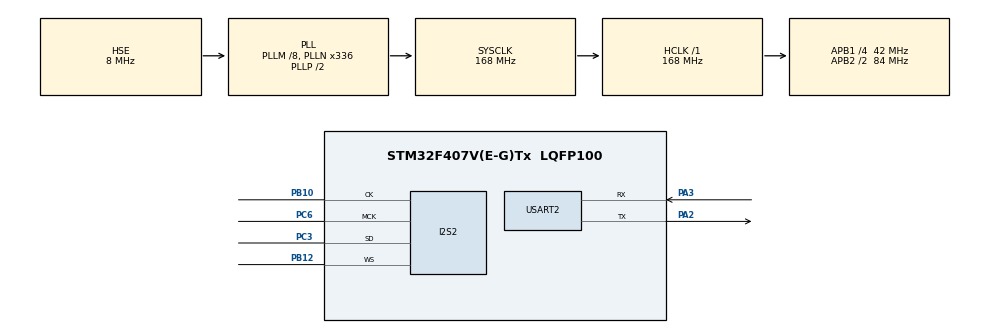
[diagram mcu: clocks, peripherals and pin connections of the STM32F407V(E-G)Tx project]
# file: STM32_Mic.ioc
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Dma.Request0=SPI2_RX
Dma.SPI2_RX.0.Direction=DMA_PERIPH_TO_MEMORY
Dma.SPI2_RX.0.FIFOMode=DMA_FIFOMODE_DISABLE
Dma.SPI2_RX.0.Instance=DMA1_Stream3
Dma.SPI2_RX.0.MemDataAlignment=DMA_MDATAALIGN_HALFWORD
Dma.SPI2_RX.0.MemInc=DMA_MINC_ENABLE
Dma.SPI2_RX.0.Mode=DMA_CIRCULAR
Dma.SPI2_RX.0.PeriphDataAlignment=DMA_PDATAALIGN_HALFWORD
Dma.SPI2_RX.0.PeriphInc=DMA_PINC_DISABLE
Dma.SPI2_RX.0.Priority=DMA_PRIORITY_LOW
I2S2.AudioFreq=I2S_AUDIOFREQ_48K
I2S2.DataFormat=I2S_DATAFORMAT_16B_EXTENDED
I2S2.ErrorAudioFreq=-2.34 %
I2S2.FullDuplexMode=I2S_FULLDUPLEXMODE_DISABLE
I2S2.Instance=SPI$Index
I2S2.Mode=I2S_MODE_MASTER_RX
I2S2.RealAudioFreq=46.875 KHz
I2S2.Standard=I2S_STANDARD_MSB
I2S2.VirtualMode=I2S_MODE_MASTER
Mcu.Family=STM32F4
Mcu.Name=STM32F407V(E-G)Tx
Mcu.Package=LQFP100
NVIC.DMA1_Stream3_IRQn=true\:0\:0\:false\:false\:true\:false\:true\:true
NVIC.PriorityGroup=NVIC_PRIORITYGROUP_0
NVIC.SPI2_IRQn=true\:0\:0\:false\:false\:true\:true\:true\:true
NVIC.USART2_IRQn=true\:0\:0\:false\:false\:true\:true\:true\:true
PA2.Mode=Asynchronous
PA2.Signal=USART2_TX
PA3.Mode=Asynchronous
PA3.Signal=USART2_RX
PB10.GPIO_Speed=GPIO_SPEED_FREQ_VERY_HIGH
PB10.Mode=Half_Duplex_Master
PB10.Signal=I2S2_CK
PB12.GPIO_Speed=GPIO_SPEED_FREQ_VERY_HIGH
PB12.Mode=Half_Duplex_Master
PB12.Signal=I2S2_WS
PC14-OSC32_IN.Mode=LSE-External-Clock-Source
PC14-OSC32_IN.Signal=RCC_OSC32_IN
PC15-OSC32_OUT.Mode=LSE-External-Clock-Source
PC15-OSC32_OUT.Signal=RCC_OSC32_OUT
PC3.GPIO_Speed=GPIO_SPEED_FREQ_VERY_HIGH
PC3.Mode=Half_Duplex_Master
PC3.Signal=I2S2_SD
PC6.Mode=Master_Clock_Activated
PC6.Signal=I2S2_MCK
PDM2PCM.CHANNEL1_in_ptr_channels=1
PDM2PCM.CHANNEL1_out_ptr_channels=1
PH0-OSC_IN.Mode=HSE-External-Clock-Source
PH0-OSC_IN.Signal=RCC_OSC_IN
PH1-OSC_OUT.Mode=HSE-External-Clock-Source
PH1-OSC_OUT.Signal=RCC_OSC_OUT
ProjectManager.HeapSize=0x1000
ProjectManager.StackSize=0x2000
ProjectManager.TargetToolchain=STM32CubeIDE
RCC.48MHZClocksFreq_Value=48000000
RCC.AHBFreq_Value=168000000
RCC.APB1CLKDivider=RCC_HCLK_DIV4
RCC.APB1Freq_Value=42000000
RCC.APB1TimFreq_Value=84000000
RCC.APB2CLKDivider=RCC_HCLK_DIV2
RCC.APB2Freq_Value=84000000
RCC.APB2TimFreq_Value=168000000
RCC.CortexFreq_Value=168000000
RCC.HCLKFreq_Value=168000000
RCC.HSE_VALUE=8000000
RCC.HSI_VALUE=16000000
RCC.LSE_VALUE=32768
RCC.PLLM=8
RCC.PLLN=336
RCC.PLLQ=7
RCC.PLLSourceVirtual=RCC_PLLSOURCE_HSE
RCC.SYSCLKFreq_VALUE=168000000
RCC.SYSCLKSource=RCC_SYSCLKSOURCE_PLLCLK
RCC.VCOOutputFreq_Value=336000000
USART2.VirtualMode=VM_ASYNC
VP_CRC_VS_CRC.Mode=CRC_Activate
VP_PDM2PCM_VS_PDM2PCM.Mode=PDM2PCM_Channel
board=STM32F407G-DISC1

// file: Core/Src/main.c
/* USER CODE BEGIN Header */
/**
  ******************************************************************************
  * @file           : main.c
  * @brief          : Main program body
  ******************************************************************************
  * @attention
  *
  * Copyright (c) 2022 STMicroelectronics.
  * All rights reserved.
  *
  * This software is licensed under terms that can be found in the LICENSE file
  * in the root directory of this software component.
  * If no LICENSE file comes with this software, it is provided AS-IS.
  *
  ******************************************************************************
  */
/* USER CODE END Header */
#include "main.h"
#include "crc.h"
#include "dma.h"
#include "i2s.h"
#include "pdm2pcm.h"
#include "usart.h"
#include "gpio.h"

/* USER CODE BEGIN Includes */
#include "string.h"
#include "stdio.h"
#include "stdlib.h"
/* USER CODE END Includes */

/* USER CODE BEGIN PTD */
#define PUTCHAR_PROTOTYPE  int __io_putchar(int ch)
/* USER CODE END PTD */

void SystemClock_Config(void);
/* USER CODE BEGIN PFP */
uint32_t average_filter(uint16_t * data, uint8_t size);
/* USER CODE END PFP */

/* USER CODE BEGIN 0 */
uint16_t data[50] = { 0 };
volatile uint32_t averageData;
char * dataPrint;

uint32_t result;

uint16_t txBuff[128];
uint16_t rxBuff[128];
uint16_t midBuff[16];
volatile uint8_t txState = 0;
volatile uint8_t rxState = 0;

uint16_t fifoBuf[256];
uint8_t fifo_w_ptr = 0;
uint8_t fifo_r_ptr = 0;
uint8_t fifo_read_enable = 0;

void fifoWrite(uint16_t data) {
	fifoBuf[fifo_w_ptr] = data;
	fifo_w_ptr++;
}

uint16_t fifoRead() {
	uint16_t val = fifoBuf[fifo_r_ptr];
	fifo_r_ptr++;
	return val;
}

/* USER CODE END 0 */

int main(void)
{

  /* MCU Configuration--------------------------------------------------------*/

  /* Reset of all peripherals, Initializes the Flash interface and the Systick. */
  HAL_Init();

  /* Configure the system clock */
  SystemClock_Config();

  /* Initialize all configured peripherals */
  MX_GPIO_Init();
  MX_DMA_Init();
  MX_I2S2_Init();
  MX_USART2_UART_Init();
  MX_CRC_Init();
  MX_PDM2PCM_Init();
  /* USER CODE BEGIN 2 */
//  HAL_UART_Transmit(&huart2, (uint8_t *)"I2S Data Demo..\r\n", 18, 0xFFFF);

  HAL_I2S_Receive_DMA(&hi2s2, &rxBuff[0], 64);
  /* USER CODE END 2 */

  /* Infinite loop */
  /* USER CODE BEGIN WHILE */
  while (1)
  {

     if (rxState == 2) {
//    	 PDM_Filter(&rxBuff[0], &midBuff[0], &PDM1_filter_handler);
//    	 for (uint8_t i  = 0; i  < 16; i++ ) {
//			fifoWrite(midBuff[i]);
//		 }
//    	 if (fifo_w_ptr - fifo_r_ptr > 128) {
//			fifo_read_enable = 1;
//		 }
    	 for(int j = 0; j < 128; j++){
    		 printf("%d\n", rxBuff[j]);
    	 }
    	 rxState = 0;
	}
    /* USER CODE END WHILE */

  }
}

void SystemClock_Config(void)
{
  RCC_OscInitTypeDef RCC_OscInitStruct = {0};
  RCC_ClkInitTypeDef RCC_ClkInitStruct = {0};

  /** Configure the main internal regulator output voltage
  */
  __HAL_RCC_PWR_CLK_ENABLE();
  __HAL_PWR_VOLTAGESCALING_CONFIG(PWR_REGULATOR_VOLTAGE_SCALE1);

  /** Initializes the RCC Oscillators according to the specified parameters
  * in the RCC_OscInitTypeDef structure.
  */
  RCC_OscInitStruct.OscillatorType = RCC_OSCILLATORTYPE_HSE;
  RCC_OscInitStruct.HSEState = RCC_HSE_BYPASS;
  RCC_OscInitStruct.PLL.PLLState = RCC_PLL_ON;
  RCC_OscInitStruct.PLL.PLLSource = RCC_PLLSOURCE_HSE;
  RCC_OscInitStruct.PLL.PLLM = 8;
  RCC_OscInitStruct.PLL.PLLN = 336;
  RCC_OscInitStruct.PLL.PLLP = RCC_PLLP_DIV2;
  RCC_OscInitStruct.PLL.PLLQ = 7;
  if (HAL_RCC_OscConfig(&RCC_OscInitStruct) != HAL_OK)
  {
    Error_Handler();
  }

  /** Initializes the CPU, AHB and APB buses clocks
  */
  RCC_ClkInitStruct.ClockType = RCC_CLOCKTYPE_HCLK|RCC_CLOCKTYPE_SYSCLK
                              |RCC_CLOCKTYPE_PCLK1|RCC_CLOCKTYPE_PCLK2;
  RCC_ClkInitStruct.SYSCLKSource = RCC_SYSCLKSOURCE_PLLCLK;
  RCC_ClkInitStruct.AHBCLKDivider = RCC_SYSCLK_DIV1;
  RCC_ClkInitStruct.APB1CLKDivider = RCC_HCLK_DIV4;
  RCC_ClkInitStruct.APB2CLKDivider = RCC_HCLK_DIV2;

  if (HAL_RCC_ClockConfig(&RCC_ClkInitStruct, FLASH_LATENCY_5) != HAL_OK)
  {
    Error_Handler();
  }
}

/* USER CODE BEGIN 4 */
/**
  * @brief  Retargets the C library printf function to the USART.
  * @param  None
  * @retval None
  */
PUTCHAR_PROTOTYPE
{
  /* Place your implementation of fputc here */
  /* e.g. write a character to the USART1 and Loop until the end of transmission */
  HAL_UART_Transmit(&huart2, (uint8_t *)&ch, 1, 0xFFFF);

  return ch;
}

/**
  * @brief  Tx Transfer Half completed callbacks
  * @param  hi2s pointer to a I2S_HandleTypeDef structure that contains
  *         the configuration information for I2S module
  * @retval None
  */
void HAL_I2S_TxHalfCpltCallback(I2S_HandleTypeDef *hi2s)
{
	txState = 1;
}

/**
  * @brief  Tx Transfer completed callbacks
  * @param  hi2s pointer to a I2S_HandleTypeDef structure that contains
  *         the configuration information for I2S module
  * @retval None
  */
void HAL_I2S_TxCpltCallback(I2S_HandleTypeDef *hi2s)
{
 	txState = 2;
}

/**
  * @brief  Rx Transfer half completed callbacks
  * @param  hi2s pointer to a I2S_HandleTypeDef structure that contains
  *         the configuration information for I2S module
  * @retval None
  */
void HAL_I2S_RxHalfCpltCallback(I2S_HandleTypeDef *hi2s)
{
	rxState = 1;
}

/**
  * @brief  Rx Transfer completed callbacks
  * @param  hi2s pointer to a I2S_HandleTypeDef structure that contains
  *         the configuration information for I2S module
  * @retval None
  */
void HAL_I2S_RxCpltCallback(I2S_HandleTypeDef *hi2s)
{
	rxState = 2;
}

uint32_t average_filter(uint16_t * data, uint8_t size) {
	averageData = 0;
	for (int i = 0; i < size; i++) {
		averageData += data[i];
	}
	return averageData/size;
}
/* USER CODE END 4 */

void Error_Handler(void)
{
  __disable_irq();
  while (1)
  {
  }
}
